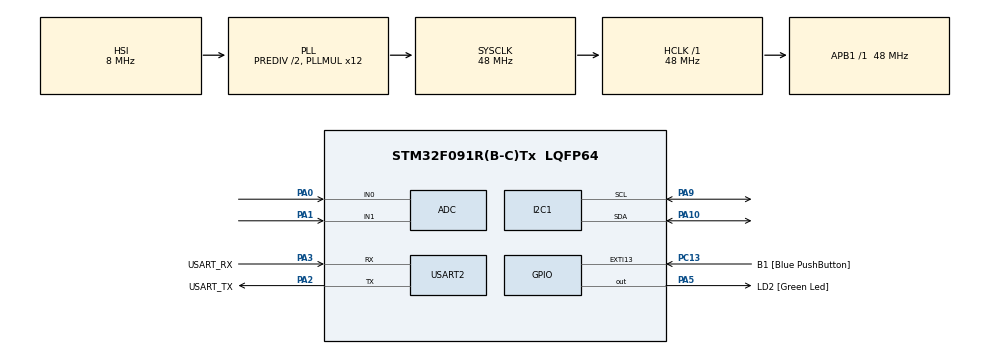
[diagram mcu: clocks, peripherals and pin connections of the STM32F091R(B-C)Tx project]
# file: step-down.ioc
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ADC.ClockPrescaler=ADC_CLOCK_ASYNC_DIV1
ADC.ContinuousConvMode=ENABLE
ADC.DMAContinuousRequests=DISABLE
ADC.EOCSelection=ADC_EOC_SINGLE_CONV
ADC.ExternalTrigConv=ADC_SOFTWARE_START
ADC.Overrun=ADC_OVR_DATA_PRESERVED
ADC.SamplingTime=ADC_SAMPLETIME_239CYCLES_5
ADC.ScanConvMode=ADC_SCAN_DIRECTION_FORWARD
Dma.ADC.0.Direction=DMA_PERIPH_TO_MEMORY
Dma.ADC.0.Instance=DMA1_Channel1
Dma.ADC.0.MemDataAlignment=DMA_MDATAALIGN_HALFWORD
Dma.ADC.0.MemInc=DMA_MINC_ENABLE
Dma.ADC.0.Mode=DMA_CIRCULAR
Dma.ADC.0.PeriphDataAlignment=DMA_PDATAALIGN_HALFWORD
Dma.ADC.0.PeriphInc=DMA_PINC_DISABLE
Dma.ADC.0.Priority=DMA_PRIORITY_HIGH
Dma.Request0=ADC
Mcu.Family=STM32F0
Mcu.Name=STM32F091R(B-C)Tx
Mcu.Package=LQFP64
NVIC.DMA1_Ch1_IRQn=true\:0\:0\:false\:false\:true\:false
NVIC.I2C1_IRQn=true\:0\:0\:false\:false\:true\:true
NVIC.TIM2_IRQn=true\:0\:0\:false\:false\:true\:true
PA0.Mode=IN0
PA0.Signal=ADC_IN0
PA1.Mode=IN1
PA1.Signal=ADC_IN1
PA10.Mode=I2C
PA10.Signal=I2C1_SDA
PA13.GPIO_Label=TMS
PA13.Mode=Serial_Wire
PA13.Signal=SYS_SWDIO
PA14.GPIO_Label=TCK
PA14.Mode=Serial_Wire
PA14.Signal=SYS_SWCLK
PA2.GPIO_Label=USART_TX
PA2.GPIO_Mode=GPIO_MODE_AF_PP
PA2.GPIO_PuPd=GPIO_NOPULL
PA2.GPIO_Speed=GPIO_SPEED_FREQ_LOW
PA2.Mode=Asynchronous
PA2.Signal=USART2_TX
PA3.GPIO_Label=USART_RX
PA3.GPIO_Mode=GPIO_MODE_AF_PP
PA3.GPIO_PuPd=GPIO_NOPULL
PA3.GPIO_Speed=GPIO_SPEED_FREQ_LOW
PA3.Mode=Asynchronous
PA3.Signal=USART2_RX
PA5.GPIO_Label=LD2 [Green Led]
PA5.GPIO_Mode=GPIO_MODE_OUTPUT_PP
PA5.GPIO_PuPd=GPIO_NOPULL
PA5.GPIO_Speed=GPIO_SPEED_FREQ_LOW
PA5.Signal=GPIO_Output
PA9.Mode=I2C
PA9.Signal=I2C1_SCL
PC13.GPIO_Label=B1 [Blue PushButton]
PC13.GPIO_ModeDefaultEXTI=GPIO_MODE_IT_FALLING
PC13.Signal=GPXTI13
PC14OSC32_IN.Mode=LSE-External-Oscillator
PC14OSC32_IN.Signal=RCC_OSC32_IN
PC15OSC32_OUT.Mode=LSE-External-Oscillator
PC15OSC32_OUT.Signal=RCC_OSC32_OUT
PF0-OSC_IN.Mode=HSE-External-Clock-Source
PF0-OSC_IN.Signal=RCC_OSC_IN
PF1-OSC_OUT.Signal=RCC_OSC_OUT
ProjectManager.HeapSize=0x200
ProjectManager.StackSize=0x400
ProjectManager.TargetToolchain=MDK-ARM V5
RCC.AHBFreq_Value=48000000
RCC.APB1Freq_Value=48000000
RCC.APB1TimFreq_Value=48000000
RCC.FLatency-AdvancedSettings=FLASH_LATENCY_1
RCC.HCLKFreq_Value=48000000
RCC.PLLDivider=RCC_PREDIV_DIV2
RCC.PLLMUL=RCC_PLL_MUL12
RCC.PREFETCH_ENABLE-AdvancedSettings=1
RCC.SYSCLKFreq_VALUE=48000000
RCC.SYSCLKSource=RCC_SYSCLKSOURCE_PLLCLK
TIM2.Period=499
TIM2.Prescaler=48000
USART2.VirtualMode=VM_ASYNC
USART2.VirtualMode-Asynchronous=VM_ASYNC
VP_TIM2_VS_ClockSourceINT.Mode=Internal
board=NUCLEO-F091RC

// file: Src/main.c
/* USER CODE BEGIN Header */
/**
  ******************************************************************************
  * @file           : main.c
  * @brief          : Main program body
  ******************************************************************************
  ** This notice applies to any and all portions of this file
  * that are not between comment pairs USER CODE BEGIN and
  * USER CODE END. Other portions of this file, whether
  * inserted by the user or by software development tools
  * are owned by their respective copyright owners.
  *
  * COPYRIGHT(c) 2019 STMicroelectronics
  *
  * Redistribution and use in source and binary forms, with or without modification,
  * are permitted provided that the following conditions are met:
  *   1. Redistributions of source code must retain the above copyright notice,
  *      this list of conditions and the following disclaimer.
  *   2. Redistributions in binary form must reproduce the above copyright notice,
  *      this list of conditions and the following disclaimer in the documentation
  *      and/or other materials provided with the distribution.
  *   3. Neither the name of STMicroelectronics nor the names of its contributors
  *      may be used to endorse or promote products derived from this software
  *      without specific prior written permission.
  *
  * THIS SOFTWARE IS PROVIDED BY THE COPYRIGHT HOLDERS AND CONTRIBUTORS "AS IS"
  * AND ANY EXPRESS OR IMPLIED WARRANTIES, INCLUDING, BUT NOT LIMITED TO, THE
  * IMPLIED WARRANTIES OF MERCHANTABILITY AND FITNESS FOR A PARTICULAR PURPOSE ARE
  * DISCLAIMED. IN NO EVENT SHALL THE COPYRIGHT HOLDER OR CONTRIBUTORS BE LIABLE
  * FOR ANY DIRECT, INDIRECT, INCIDENTAL, SPECIAL, EXEMPLARY, OR CONSEQUENTIAL
  * DAMAGES (INCLUDING, BUT NOT LIMITED TO, PROCUREMENT OF SUBSTITUTE GOODS OR
  * SERVICES; LOSS OF USE, DATA, OR PROFITS; OR BUSINESS INTERRUPTION) HOWEVER
  * CAUSED AND ON ANY THEORY OF LIABILITY, WHETHER IN CONTRACT, STRICT LIABILITY,
  * OR TORT (INCLUDING NEGLIGENCE OR OTHERWISE) ARISING IN ANY WAY OUT OF THE USE
  * OF THIS SOFTWARE, EVEN IF ADVISED OF THE POSSIBILITY OF SUCH DAMAGE.
  *
  ******************************************************************************
  */
/* USER CODE END Header */

#include "main.h"

/* USER CODE BEGIN Includes */
#include "stdbool.h"
#include "ssd1306.h"
/* USER CODE END Includes */

/* USER CODE BEGIN PD */
#define ADC_VALUE_BUFFER_SIZE   (128)
#define DISPLAY_REFRESH_RATE_MS (500)

/* USER CODE END PD */

ADC_HandleTypeDef hadc;
DMA_HandleTypeDef hdma_adc;

I2C_HandleTypeDef hi2c1;

TIM_HandleTypeDef htim2;

UART_HandleTypeDef huart2;

/* USER CODE BEGIN PV */
static uint32_t adcValueBuffer[ADC_VALUE_BUFFER_SIZE];
static uint16_t adcValueInBuffer[ADC_VALUE_BUFFER_SIZE];
static uint16_t adcValueOutBuffer[ADC_VALUE_BUFFER_SIZE];

static uint32_t *adcValueBufferPtr;
static uint16_t *adcValueInBufferPtr;
static uint16_t *adcValueOutBufferPtr;

static uint16_t avgAdcInValue;
static uint16_t avgAdcOutValue;

static float inputVoltage;
static float outputVoltage;

static char inputVoltageString[16];
static char outputVoltageString[16];

static float maxAdcVoltage_mV = 3300;
static float maxAdcRegisterValue = 0xFFF;

static float inputR1_Ohms = 1000;
static float inputR2_Ohms = 10000;

static float outputR1_Ohms = 10000;
static float outputR2_Ohms = 1000;

static bool IsAdcBufferReady;
static bool shouldDisplayBeRefreshed;
/* USER CODE END PV */

void SystemClock_Config(void);
static void MX_GPIO_Init(void);
static void MX_DMA_Init(void);
static void MX_USART2_UART_Init(void);
static void MX_ADC_Init(void);
static void MX_I2C1_Init(void);
static void MX_TIM2_Init(void);

/* USER CODE BEGIN 0 */
void HAL_ADC_ConvCpltCallback(ADC_HandleTypeDef* hadc)
{
	IsAdcBufferReady = true;
}

void HAL_TIM_PeriodElapsedCallback(TIM_HandleTypeDef *htim)
{
	shouldDisplayBeRefreshed = true;
}
/* USER CODE END 0 */

int main(void)
{
  /* USER CODE BEGIN 1 */
	IsAdcBufferReady = false;
	shouldDisplayBeRefreshed = false;
	adcValueBufferPtr = adcValueBuffer;
	adcValueInBufferPtr = adcValueInBuffer;
	adcValueOutBufferPtr = adcValueOutBuffer;
	avgAdcInValue = 0;
	avgAdcOutValue = 0;
	inputVoltage = 0;
	outputVoltage = 0;
  /* USER CODE END 1 */

  /* MCU Configuration--------------------------------------------------------*/

  /* Reset of all peripherals, Initializes the Flash interface and the Systick. */
  HAL_Init();

  /* Configure the system clock */
  SystemClock_Config();

  /* Initialize all configured peripherals */
  MX_GPIO_Init();
  MX_DMA_Init();
  MX_USART2_UART_Init();
  MX_ADC_Init();
  MX_I2C1_Init();
  MX_TIM2_Init();
  /* USER CODE BEGIN 2 */
	HAL_ADC_Start_DMA(&hadc, adcValueBuffer, 2 * ADC_VALUE_BUFFER_SIZE);
	HAL_TIM_Base_Start_IT(&htim2);

	char title[] = "Step-down Voltage converter";
	char inLabel[] = "Input Voltage [V]: ";
	char outLabel[] = "Output Voltage [V]: ";
	ssd1306_Init();
	ssd1306_Fill(Black);
	ssd1306_SetCursor(2, 18);
	ssd1306_WriteString(title, Font_11x18, White);
	ssd1306_SetCursor(4, 18);
	ssd1306_WriteString(inLabel, Font_11x18, White);
	ssd1306_SetCursor(6, 18);
	ssd1306_WriteString(outLabel, Font_11x18, White);
	ssd1306_UpdateScreen();
  /* USER CODE END 2 */

  /* Infinite loop */
  while (1)
  {

    /* USER CODE BEGIN 3 */
		uint16_t adcInValue = 0;
		uint16_t adcOutValue = 0;

		uint32_t sumAdcInValue = 0;
		uint32_t sumAdcOutValue = 0;

		if (IsAdcBufferReady == true)
		{
			for (size_t i=0; i<ADC_VALUE_BUFFER_SIZE; ++i)
			{
				adcInValue = (uint16_t)(*adcValueBufferPtr & 0x0000FFFF);
				adcOutValue = (uint16_t)(*adcValueBufferPtr >> 16);
				*adcValueInBufferPtr++ = adcInValue;
				*adcValueOutBufferPtr++ = adcOutValue;

				sumAdcInValue += adcInValue;
				sumAdcOutValue += adcOutValue;

				adcValueBufferPtr++;
			}

			avgAdcInValue = sumAdcInValue / ADC_VALUE_BUFFER_SIZE;
			avgAdcOutValue = sumAdcOutValue / ADC_VALUE_BUFFER_SIZE;

			inputVoltage = ((inputR1_Ohms + inputR2_Ohms) / inputR2_Ohms) *
			                (maxAdcVoltage_mV / maxAdcRegisterValue) *
			                (float)avgAdcInValue;

			outputVoltage = ((outputR1_Ohms + outputR2_Ohms) / outputR2_Ohms) *
			                (maxAdcVoltage_mV / maxAdcRegisterValue) *
			                (float)avgAdcOutValue;

			adcValueBufferPtr = adcValueBuffer;
			adcValueInBufferPtr = adcValueInBuffer;
			adcValueOutBufferPtr = adcValueOutBuffer;
			IsAdcBufferReady = false;

			HAL_ADC_Start_DMA(&hadc, adcValueBuffer, 2 * ADC_VALUE_BUFFER_SIZE);
		}
		if (shouldDisplayBeRefreshed == true)
		{
			snprintf(inputVoltageString, sizeof(inputVoltageString), "%.2f", inputVoltage / 1000.0);
			snprintf(outputVoltageString, sizeof(outputVoltageString), "%.2f", outputVoltage / 1000.0);

			ssd1306_SetCursor(4, 18 + sizeof(inLabel));
			ssd1306_WriteString(inLabel, Font_11x18, White);
			ssd1306_SetCursor(6, 18 + sizeof(outLabel));
			ssd1306_WriteString(outLabel, Font_11x18, White);
			ssd1306_UpdateScreen();

			shouldDisplayBeRefreshed = false;
		}
  }
  /* USER CODE END 3 */
}

void SystemClock_Config(void)
{
  RCC_OscInitTypeDef RCC_OscInitStruct = {0};
  RCC_ClkInitTypeDef RCC_ClkInitStruct = {0};
  RCC_PeriphCLKInitTypeDef PeriphClkInit = {0};

  /**Initializes the CPU, AHB and APB busses clocks
  */
  RCC_OscInitStruct.OscillatorType = RCC_OSCILLATORTYPE_HSI|RCC_OSCILLATORTYPE_HSI14;
  RCC_OscInitStruct.HSIState = RCC_HSI_ON;
  RCC_OscInitStruct.HSI14State = RCC_HSI14_ON;
  RCC_OscInitStruct.HSICalibrationValue = RCC_HSICALIBRATION_DEFAULT;
  RCC_OscInitStruct.HSI14CalibrationValue = 16;
  RCC_OscInitStruct.PLL.PLLState = RCC_PLL_ON;
  RCC_OscInitStruct.PLL.PLLSource = RCC_PLLSOURCE_HSI;
  RCC_OscInitStruct.PLL.PLLMUL = RCC_PLL_MUL12;
  RCC_OscInitStruct.PLL.PREDIV = RCC_PREDIV_DIV2;
  if (HAL_RCC_OscConfig(&RCC_OscInitStruct) != HAL_OK)
  {
    Error_Handler();
  }
  /**Initializes the CPU, AHB and APB busses clocks
  */
  RCC_ClkInitStruct.ClockType = RCC_CLOCKTYPE_HCLK|RCC_CLOCKTYPE_SYSCLK
                              |RCC_CLOCKTYPE_PCLK1;
  RCC_ClkInitStruct.SYSCLKSource = RCC_SYSCLKSOURCE_PLLCLK;
  RCC_ClkInitStruct.AHBCLKDivider = RCC_SYSCLK_DIV1;
  RCC_ClkInitStruct.APB1CLKDivider = RCC_HCLK_DIV1;

  if (HAL_RCC_ClockConfig(&RCC_ClkInitStruct, FLASH_LATENCY_1) != HAL_OK)
  {
    Error_Handler();
  }
  PeriphClkInit.PeriphClockSelection = RCC_PERIPHCLK_USART2|RCC_PERIPHCLK_I2C1;
  PeriphClkInit.Usart2ClockSelection = RCC_USART2CLKSOURCE_PCLK1;
  PeriphClkInit.I2c1ClockSelection = RCC_I2C1CLKSOURCE_HSI;
  if (HAL_RCCEx_PeriphCLKConfig(&PeriphClkInit) != HAL_OK)
  {
    Error_Handler();
  }
}

static void MX_ADC_Init(void)
{

  ADC_ChannelConfTypeDef sConfig = {0};

  /**Configure the global features of the ADC (Clock, Resolution, Data Alignment and number of conversion)
  */
  hadc.Instance = ADC1;
  hadc.Init.ClockPrescaler = ADC_CLOCK_ASYNC_DIV1;
  hadc.Init.Resolution = ADC_RESOLUTION_12B;
  hadc.Init.DataAlign = ADC_DATAALIGN_RIGHT;
  hadc.Init.ScanConvMode = ADC_SCAN_DIRECTION_FORWARD;
  hadc.Init.EOCSelection = ADC_EOC_SINGLE_CONV;
  hadc.Init.LowPowerAutoWait = DISABLE;
  hadc.Init.LowPowerAutoPowerOff = DISABLE;
  hadc.Init.ContinuousConvMode = ENABLE;
  hadc.Init.DiscontinuousConvMode = DISABLE;
  hadc.Init.ExternalTrigConv = ADC_SOFTWARE_START;
  hadc.Init.ExternalTrigConvEdge = ADC_EXTERNALTRIGCONVEDGE_NONE;
  hadc.Init.DMAContinuousRequests = DISABLE;
  hadc.Init.Overrun = ADC_OVR_DATA_PRESERVED;
  if (HAL_ADC_Init(&hadc) != HAL_OK)
  {
    Error_Handler();
  }
  /**Configure for the selected ADC regular channel to be converted.
  */
  sConfig.Channel = ADC_CHANNEL_0;
  sConfig.Rank = ADC_RANK_CHANNEL_NUMBER;
  sConfig.SamplingTime = ADC_SAMPLETIME_239CYCLES_5;
  if (HAL_ADC_ConfigChannel(&hadc, &sConfig) != HAL_OK)
  {
    Error_Handler();
  }
  /**Configure for the selected ADC regular channel to be converted.
  */
  sConfig.Channel = ADC_CHANNEL_1;
  if (HAL_ADC_ConfigChannel(&hadc, &sConfig) != HAL_OK)
  {
    Error_Handler();
  }

}

static void MX_I2C1_Init(void)
{

  hi2c1.Instance = I2C1;
  hi2c1.Init.Timing = 0x2000090E;
  hi2c1.Init.OwnAddress1 = 0;
  hi2c1.Init.AddressingMode = I2C_ADDRESSINGMODE_7BIT;
  hi2c1.Init.DualAddressMode = I2C_DUALADDRESS_DISABLE;
  hi2c1.Init.OwnAddress2 = 0;
  hi2c1.Init.OwnAddress2Masks = I2C_OA2_NOMASK;
  hi2c1.Init.GeneralCallMode = I2C_GENERALCALL_DISABLE;
  hi2c1.Init.NoStretchMode = I2C_NOSTRETCH_DISABLE;
  if (HAL_I2C_Init(&hi2c1) != HAL_OK)
  {
    Error_Handler();
  }
  /**Configure Analogue filter
  */
  if (HAL_I2CEx_ConfigAnalogFilter(&hi2c1, I2C_ANALOGFILTER_ENABLE) != HAL_OK)
  {
    Error_Handler();
  }
  /**Configure Digital filter
  */
  if (HAL_I2CEx_ConfigDigitalFilter(&hi2c1, 0) != HAL_OK)
  {
    Error_Handler();
  }

}

static void MX_TIM2_Init(void)
{

  TIM_ClockConfigTypeDef sClockSourceConfig = {0};
  TIM_MasterConfigTypeDef sMasterConfig = {0};

  htim2.Instance = TIM2;
  htim2.Init.Prescaler = 48000;
  htim2.Init.CounterMode = TIM_COUNTERMODE_UP;
  htim2.Init.Period = DISPLAY_REFRESH_RATE_MS - 1;
  htim2.Init.ClockDivision = TIM_CLOCKDIVISION_DIV1;
  htim2.Init.AutoReloadPreload = TIM_AUTORELOAD_PRELOAD_DISABLE;
  if (HAL_TIM_Base_Init(&htim2) != HAL_OK)
  {
    Error_Handler();
  }
  sClockSourceConfig.ClockSource = TIM_CLOCKSOURCE_INTERNAL;
  if (HAL_TIM_ConfigClockSource(&htim2, &sClockSourceConfig) != HAL_OK)
  {
    Error_Handler();
  }
  sMasterConfig.MasterOutputTrigger = TIM_TRGO_RESET;
  sMasterConfig.MasterSlaveMode = TIM_MASTERSLAVEMODE_DISABLE;
  if (HAL_TIMEx_MasterConfigSynchronization(&htim2, &sMasterConfig) != HAL_OK)
  {
    Error_Handler();
  }

}

static void MX_USART2_UART_Init(void)
{

  huart2.Instance = USART2;
  huart2.Init.BaudRate = 115200;
  huart2.Init.WordLength = UART_WORDLENGTH_8B;
  huart2.Init.StopBits = UART_STOPBITS_1;
  huart2.Init.Parity = UART_PARITY_NONE;
  huart2.Init.Mode = UART_MODE_TX_RX;
  huart2.Init.HwFlowCtl = UART_HWCONTROL_NONE;
  huart2.Init.OverSampling = UART_OVERSAMPLING_16;
  huart2.Init.OneBitSampling = UART_ONE_BIT_SAMPLE_DISABLE;
  huart2.AdvancedInit.AdvFeatureInit = UART_ADVFEATURE_NO_INIT;
  if (HAL_UART_Init(&huart2) != HAL_OK)
  {
    Error_Handler();
  }

}

static void MX_DMA_Init(void)
{
  /* DMA controller clock enable */
  __HAL_RCC_DMA1_CLK_ENABLE();

  /* DMA interrupt init */
  /* DMA1_Ch1_IRQn interrupt configuration */
  HAL_NVIC_SetPriority(DMA1_Ch1_IRQn, 0, 0);
  HAL_NVIC_EnableIRQ(DMA1_Ch1_IRQn);

}

static void MX_GPIO_Init(void)
{
  GPIO_InitTypeDef GPIO_InitStruct = {0};

  /* GPIO Ports Clock Enable */
  __HAL_RCC_GPIOC_CLK_ENABLE();
  __HAL_RCC_GPIOF_CLK_ENABLE();
  __HAL_RCC_GPIOA_CLK_ENABLE();

  /*Configure GPIO pin Output Level */
  HAL_GPIO_WritePin(LD2_GPIO_Port, LD2_Pin, GPIO_PIN_RESET);

  /*Configure GPIO pin : B1_Pin */
  GPIO_InitStruct.Pin = B1_Pin;
  GPIO_InitStruct.Mode = GPIO_MODE_IT_FALLING;
  GPIO_InitStruct.Pull = GPIO_NOPULL;
  HAL_GPIO_Init(B1_GPIO_Port, &GPIO_InitStruct);

  /*Configure GPIO pin : LD2_Pin */
  GPIO_InitStruct.Pin = LD2_Pin;
  GPIO_InitStruct.Mode = GPIO_MODE_OUTPUT_PP;
  GPIO_InitStruct.Pull = GPIO_NOPULL;
  GPIO_InitStruct.Speed = GPIO_SPEED_FREQ_LOW;
  HAL_GPIO_Init(LD2_GPIO_Port, &GPIO_InitStruct);

}

void Error_Handler(void)
{
}

/************************ (C) COPYRIGHT STMicroelectronics *****END OF FILE****/
